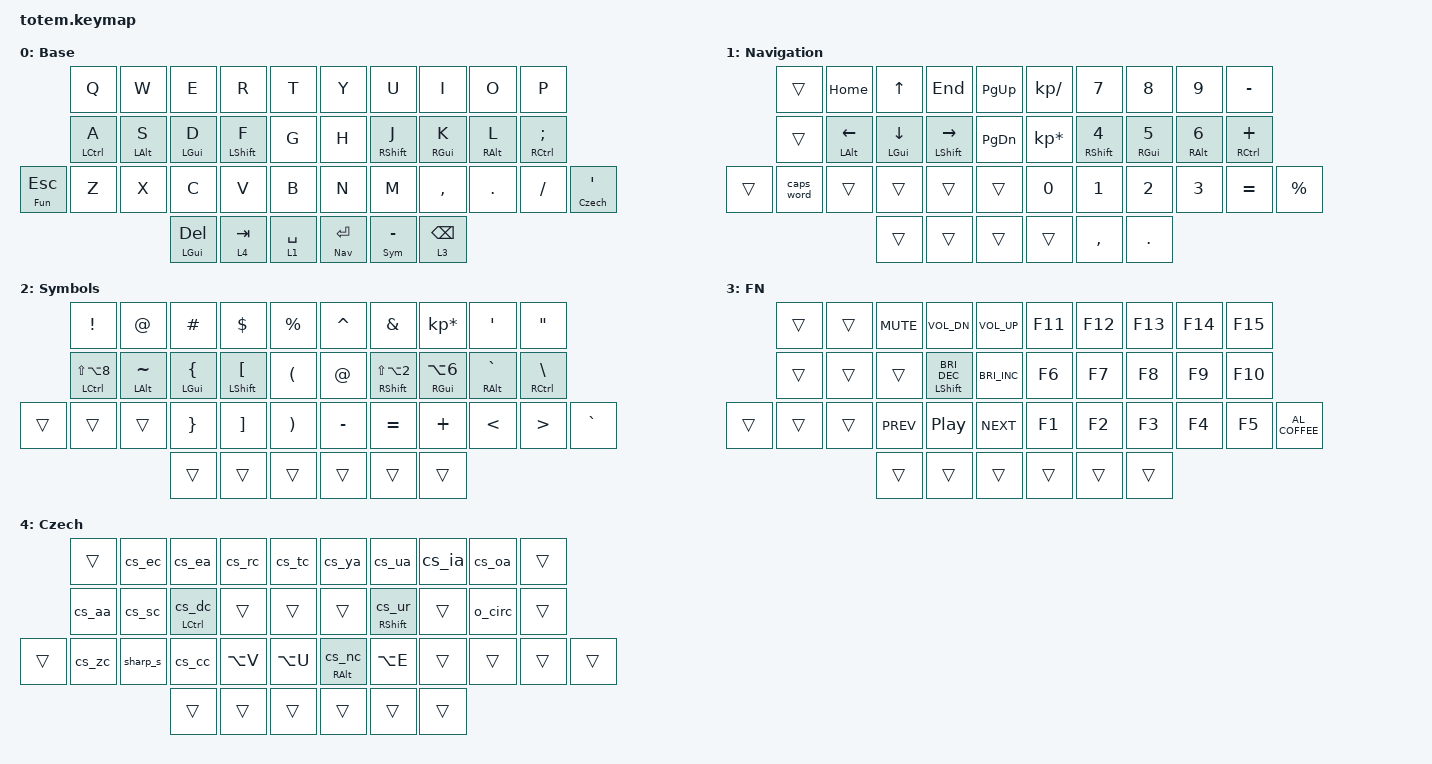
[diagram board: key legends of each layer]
//
//                                                        ▀▀▀▀▀     ▀▀▀▀▀          ▀▀█▀▀
//                                                        ▄▀▀▀▄  ▄  ▄▀▀▀▄  ▄  ▄▀▀▀▄  █  ▄▀▀▀▄
//                                                        █   █  █  █   █  █  █   █  █  █   █
//                                                         ▀▀▀   █   ▀▀▀   █   ▀▀▀   ▀   ▀▀▀
//                                                               █      ▄▄▄█▄▄▄    █   █
//                                                               ▀      █  █  █     █▄█
//                                                             ▀▀▀▀▀    █  █  █      ▀
//                                                                      ▀  ▀  ▀
//
// ▄▄▄▄▄▄▄▄▄▄▄▄▄▄▄▄▄▄▄▄▄▄▄▄▄▄▄▄▄▄▄▄▄▄▄▄▄▄▄▄▄▄▄▄▄▄▄▄▄▄▄▄▄▄▄▄▄▄▄▄▄▄▄▄▄▄▄▄▄▄▄▄▄▄▄▄▄▄▄▄▄▄▄▄▄▄▄▄▄▄▄▄▄▄▄▄▄▄▄▄▄▄▄▄▄▄▄▄▄▄▄▄▄▄▄▄▄▄▄▄▄▄▄▄▄▄▄▄▄▄▄▄▄▄▄▄▄▄▄▄▄▄▄▄▄▄▄▄▄

#include <behaviors.dtsi>
#include <dt-bindings/zmk/keys.h>
#include "czech_macos.dtsi"

#define Base    0
#define Nav     1
#define Sym     2
#define Fun     3
#define Czech   4

// macOS Option shortcuts (Sym: work on US/ABC; dead keys need ABC Extended)

#define MAC_EURO    LS(LA(N2)) // €
#define MAC_SECT    LA(N6)     // §
#define MAC_DEG     LS(LA(N8)) // °
#define MAC_CARON   LA(V)      // ˇ dead key (ABC Extended only)
#define MAC_ACUTE   LA(E)      // ´ dead key (ABC Extended only)
#define MAC_DIAER   LA(U)      // ¨ dead key (ABC Extended only)

&mt {
    quick-tap-ms = <100>;
    global-quick-tap;
    flavor = "tap-preferred";
    tapping-term-ms = <170>;
};

&lt {
    tapping-term-ms = <240>;
    flavor = "balanced";
    quick-tap-ms = <150>;
};

/ {
    behaviors {
        hm: homerow_mods {
            compatible = "zmk,behavior-hold-tap";
            label = "HOMEROW_MODS";
            #binding-cells = <2>;
            flavor = "tap-preferred";
            tapping-term-ms = <200>;
            quick-tap-ms = <125>;
            global-quick-tap;
            bindings = <&kp>, <&kp>;
        };

        // Hold-tap always requires 2 binding cells in ZMK; tap side is 0-param
        // so the keymap passes a dummy 0 (ignored by the mod-morph).

        csdc_ht: hold_tap_cs_dc {
            compatible = "zmk,behavior-hold-tap";
            #binding-cells = <2>;
            flavor = "tap-preferred";
            tapping-term-ms = <200>;
            quick-tap-ms = <125>;
            global-quick-tap;
            bindings = <&kp>, <&cs_dc>;
        };

        csur_ht: hold_tap_cs_ur {
            compatible = "zmk,behavior-hold-tap";
            #binding-cells = <2>;
            flavor = "tap-preferred";
            tapping-term-ms = <200>;
            quick-tap-ms = <125>;
            global-quick-tap;
            bindings = <&kp>, <&cs_ur>;
        };

        csnc_ht: hold_tap_cs_nc {
            compatible = "zmk,behavior-hold-tap";
            #binding-cells = <2>;
            flavor = "tap-preferred";
            tapping-term-ms = <200>;
            quick-tap-ms = <125>;
            global-quick-tap;
            bindings = <&kp>, <&cs_nc>;
        };
    };

    // DE/SK: hold accent key on Czech layer + base letter.
    // Positions: caron=24(V), acute=22(X), diaer=25(B), A=10, O=8, U=6, L=18, R=3.

    combos {
        compatible = "zmk,combos";

        combo_a_dia {
            timeout-ms = <50>;
            bindings = <&a_dia>;
            key-positions = <25 10>;
            layers = <Czech>;
        };

        combo_o_dia {
            timeout-ms = <50>;
            bindings = <&o_dia>;
            key-positions = <25 8>;
            layers = <Czech>;
        };

        combo_u_dia {
            timeout-ms = <50>;
            bindings = <&u_dia>;
            key-positions = <25 6>;
            layers = <Czech>;
        };

        combo_l_acute {
            timeout-ms = <50>;
            bindings = <&l_acute>;
            key-positions = <22 18>;
            layers = <Czech>;
        };

        combo_r_acute {
            timeout-ms = <50>;
            bindings = <&r_acute>;
            key-positions = <22 3>;
            layers = <Czech>;
        };

        combo_l_caron {
            timeout-ms = <50>;
            bindings = <&l_caron>;
            key-positions = <24 18>;
            layers = <Czech>;
        };
    };

    keymap {
        compatible = "zmk,keymap";

        // Totem physical layout (see totem.dtsi matrix_transform):
        //           ┌─────┬─────┬─────┬─────┬─────┐   ┌─────┬─────┬─────┬─────┬─────┐
        //           │  0  │  1  │  2  │  3  │  4  │   │  5  │  6  │  7  │  8  │  9  │
        //           ├─────┼─────┼─────┼─────┼─────┤   ├─────┼─────┼─────┼─────┼─────┤
        //           │ 10  │ 11  │ 12  │ 13  │ 14  │   │ 15  │ 16  │ 17  │ 18  │ 19  │
        //     ┌─────┼─────┼─────┼─────┼─────┼─────┤   ├─────┼─────┼─────┼─────┼─────┼─────┐
        //     │ 20  │ 21  │ 22  │ 23  │ 24  │ 25  │   │ 26  │ 27  │ 28  │ 29  │ 30  │ 31  │
        //     └─────┴─────┴─────┼─────┼─────┼─────┤   ├─────┼─────┼─────┼─────┴─────┴─────┘
        //                       │ 32  │ 33  │ 34  │   │ 35  │ 36  │ 37  │
        //                       └─────┴─────┴─────┘   └─────┴─────┴─────┘

        Base {
            display-name = "Base";
            bindings = <
                &kp Q        &kp W       &kp E         &kp R         &kp T          &kp Y        &kp U          &kp I        &kp O       &kp P
                &hm LCTRL A  &hm LALT S  &hm LGUI D    &hm LSHIFT F  &kp G          &kp H        &hm RSHFT J    &hm RGUI K   &hm RALT L  &hm RCTRL SEMICOLON
&lt Fun ESCAPE  &kp Z        &kp X       &kp C         &kp V         &kp B          &kp N        &kp M          &kp COMMA    &kp DOT     &kp SLASH            &lt Czech APOSTROPHE
                                         &mt LGUI DEL  &lt 4 TAB     &lt 1 SPACE    &lt Nav RET  &lt Sym MINUS  &lt 3 BSPC
            >;
        };

        Nav {
            display-name = "Navigation";
            bindings = <
        &trans      &kp HOME       &kp UP_ARROW   &kp END           &kp PG_UP        &kp KP_DIVIDE    &kp NUMBER_7        &kp NUMBER_8       &kp NUMBER_9       &kp MINUS
        &trans      &hm LALT LEFT  &hm LGUI DOWN  &hm LSHIFT RIGHT  &kp PAGE_DOWN    &kp KP_MULTIPLY  &hm RSHFT NUMBER_4  &hm RGUI NUMBER_5  &hm RALT NUMBER_6  &hm RCTRL PLUS
&trans  &caps_word  &trans         &trans         &trans            &trans           &kp N0           &kp NUMBER_1        &kp NUMBER_2       &kp NUMBER_3       &kp EQUAL       &kp PERCENT
                                   &trans         &trans            &trans           &trans           &kp COMMA           &kp DOT
            >;
        };

        Sym {
            display-name = "Symbols";
            bindings = <
        &kp EXCL           &kp AT          &kp HASH       &kp DOLLAR       &kp PERCENT    &kp CARET  &kp AMPERSAND       &kp KP_ASTERISK    &kp SQT         &kp DQT
        &hm LCTRL MAC_DEG  &hm LALT TILDE  &hm LGUI LBRC  &hm LSHIFT LBKT  &kp LPAR       &kp AT     &hm RSHFT MAC_EURO  &hm RGUI MAC_SECT  &hm RALT GRAVE  &hm RCTRL BACKSLASH
&trans  &trans             &trans          &kp RBRC       &kp RBKT         &kp RPAR       &kp MINUS  &kp EQUAL           &kp PLUS           &kp LT          &kp GT               &kp GRAVE
                                           &trans         &trans           &trans         &trans     &trans              &trans
            >;
        };

        Fun {
            display-name = "FN";
            bindings = <
        &trans  &trans  &kp C_MUTE  &kp C_VOL_DN          &kp C_VOL_UP     &kp F11  &kp F12  &kp F13  &kp F14  &kp F15
        &trans  &trans  &trans      &hm LSHIFT C_BRI_DEC  &kp C_BRI_INC    &kp F6   &kp F7   &kp F8   &kp F9   &kp F10
&trans  &trans  &trans  &kp C_PREV  &kp C_PP              &kp C_NEXT       &kp F1   &kp F2   &kp F3   &kp F4   &kp F5   &kp C_AL_COFFEE
                        &trans      &trans                &trans           &trans   &trans   &trans
            >;
        };

        // Accented letters on matching base keys; ě on W, ů on J.
        // X/V/B = acute/caron/diaer dead keys for combos / manual compose.

        Czech {
            display-name = "Czech";
            bindings = <
        &trans  &cs_ec    &cs_ea            &cs_rc         &cs_tc           &cs_ya           &cs_ua            &cs_ia  &cs_oa   &trans
        &cs_aa  &cs_sc    &csdc_ht LCTRL 0  &trans         &trans           &trans           &csur_ht RSHFT 0  &trans  &o_circ  &trans
&trans  &cs_zc  &sharp_s  &cs_cc            &kp MAC_CARON  &kp MAC_DIAER    &csnc_ht RALT 0  &kp MAC_ACUTE     &trans  &trans   &trans  &trans
                          &trans            &trans         &trans           &trans           &trans            &trans
            >;
        };
    };
};
